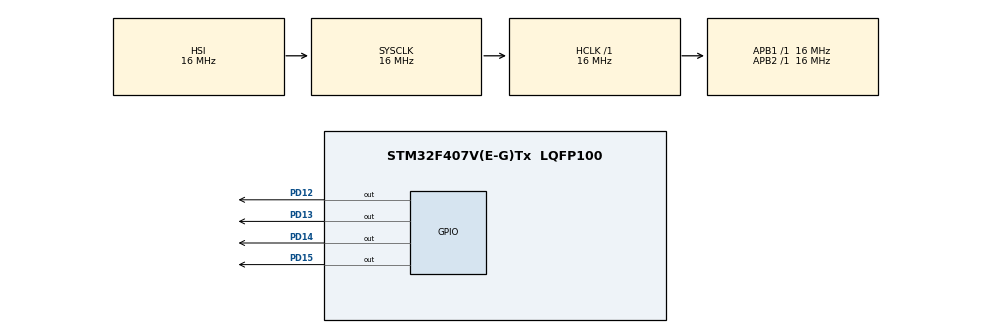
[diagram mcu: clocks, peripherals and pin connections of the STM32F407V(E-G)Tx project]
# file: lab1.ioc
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Mcu.Family=STM32F4
Mcu.Name=STM32F407V(E-G)Tx
Mcu.Package=LQFP100
NVIC.PriorityGroup=NVIC_PRIORITYGROUP_4
PD12.Signal=GPIO_Output
PD13.Signal=GPIO_Output
PD14.Signal=GPIO_Output
PD15.Signal=GPIO_Output
ProjectManager.HeapSize=0x200
ProjectManager.StackSize=0x400
ProjectManager.TargetToolchain=STM32CubeIDE
RCC.AHBFreq_Value=16000000
RCC.APB1Freq_Value=16000000
RCC.APB2Freq_Value=16000000
RCC.CortexFreq_Value=16000000
RCC.HSE_VALUE=25000000
RCC.HSI_VALUE=16000000
RCC.LSE_VALUE=32768
RCC.SYSCLKFreq_VALUE=16000000
RCC.VCOOutputFreq_Value=192000000
board=custom

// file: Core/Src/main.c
/* USER CODE BEGIN Header */
/**
  ******************************************************************************
  * @file           : main.c
  * @brief          : Main program body
  ******************************************************************************
  * @attention
  *
  * <h2><center>&copy; Copyright (c) 2021 STMicroelectronics.
  * All rights reserved.</center></h2>
  *
  * This software component is licensed by ST under BSD 3-Clause license,
  * the "License"; You may not use this file except in compliance with the
  * License. You may obtain a copy of the License at:
  *                        opensource.org/licenses/BSD-3-Clause
  *
  ******************************************************************************
  */
/* USER CODE END Header */
#include "main.h"

void SystemClock_Config(void);
static void MX_GPIO_Init(void);

int main(void)
{

  /* MCU Configuration--------------------------------------------------------*/

  /* Reset of all peripherals, Initializes the Flash interface and the Systick. */
  HAL_Init();

  /* Configure the system clock */
  SystemClock_Config();

  /* Initialize all configured peripherals */
  MX_GPIO_Init();

  /* Infinite loop */
  /* USER CODE BEGIN WHILE */
#define del1 400
#define del2 300
#define del3 500
#define del_betw_mod 1000

  void Mod_1()
  {
	  for(int i=0; i<3; i++)
	  {
	  		HAL_GPIO_WritePin(GPIOD, GPIO_PIN_12 | GPIO_PIN_13 | GPIO_PIN_14 | GPIO_PIN_15, GPIO_PIN_SET);
	  		HAL_Delay(del1);
	  		HAL_GPIO_WritePin(GPIOD, GPIO_PIN_12 | GPIO_PIN_13 | GPIO_PIN_14 | GPIO_PIN_15, GPIO_PIN_RESET);
	  		HAL_Delay(del1);
	  };
	  HAL_Delay(del_betw_mod);
  }

  void Mod_2(int dir)
  {
	  HAL_GPIO_WritePin(GPIOD, GPIO_PIN_12, GPIO_PIN_SET);
	  HAL_Delay(del2);

	  if(dir)
			HAL_GPIO_WritePin(GPIOD, GPIO_PIN_15, GPIO_PIN_SET);
	  else
			HAL_GPIO_WritePin(GPIOD, GPIO_PIN_13, GPIO_PIN_SET);
	  HAL_Delay(del2);

	  for(int i=0; i<6; i++)
	  {
			HAL_GPIO_WritePin(GPIOD, GPIO_PIN_14, GPIO_PIN_SET);
			HAL_GPIO_WritePin(GPIOD, GPIO_PIN_12, GPIO_PIN_RESET);
			HAL_Delay(del2);

			HAL_GPIO_WritePin(GPIOD, GPIO_PIN_13, dir);
			HAL_GPIO_WritePin(GPIOD, GPIO_PIN_15, !dir);
			HAL_Delay(del2);

			HAL_GPIO_WritePin(GPIOD, GPIO_PIN_12, GPIO_PIN_SET);
			HAL_GPIO_WritePin(GPIOD, GPIO_PIN_14, GPIO_PIN_RESET);
			HAL_Delay(del2);

			HAL_GPIO_WritePin(GPIOD, GPIO_PIN_15, dir);
			HAL_GPIO_WritePin(GPIOD, GPIO_PIN_13, !dir);
			HAL_Delay(del2);
	  }

		HAL_GPIO_WritePin(GPIOD, GPIO_PIN_14, GPIO_PIN_SET);
		HAL_GPIO_WritePin(GPIOD, GPIO_PIN_12, GPIO_PIN_RESET);
		HAL_Delay(del2);

		HAL_GPIO_WritePin(GPIOD, GPIO_PIN_13, dir);
		HAL_GPIO_WritePin(GPIOD, GPIO_PIN_15, !dir);
		HAL_Delay(del2);

		HAL_GPIO_WritePin(GPIOD, GPIO_PIN_12, GPIO_PIN_SET);
		HAL_GPIO_WritePin(GPIOD, GPIO_PIN_14, GPIO_PIN_RESET);
		HAL_Delay(del2);

	  if(dir)
			HAL_GPIO_WritePin(GPIOD, GPIO_PIN_13, GPIO_PIN_RESET);
	  else
			HAL_GPIO_WritePin(GPIOD, GPIO_PIN_15, GPIO_PIN_RESET);
	  HAL_Delay(del2);

	  HAL_GPIO_WritePin(GPIOD, GPIO_PIN_12, GPIO_PIN_RESET);
	  HAL_Delay(del_betw_mod);
  }

  void Mod_3()
  {
	  	HAL_GPIO_WritePin(GPIOD, GPIO_PIN_12, GPIO_PIN_SET);
	  	HAL_Delay(del3);

	  	HAL_GPIO_WritePin(GPIOD, GPIO_PIN_13, GPIO_PIN_SET);
	  	HAL_GPIO_WritePin(GPIOD, GPIO_PIN_12, GPIO_PIN_RESET);
	  	HAL_Delay(del3);

	  	HAL_GPIO_WritePin(GPIOD, GPIO_PIN_14, GPIO_PIN_SET);
	  	HAL_GPIO_WritePin(GPIOD, GPIO_PIN_13, GPIO_PIN_RESET);
	  	HAL_Delay(del3);

	  	HAL_GPIO_WritePin(GPIOD, GPIO_PIN_12, GPIO_PIN_SET);
	  	HAL_Delay(del3);

	  	HAL_GPIO_WritePin(GPIOD, GPIO_PIN_15, GPIO_PIN_SET);
	  	HAL_GPIO_WritePin(GPIOD, GPIO_PIN_12, GPIO_PIN_RESET);
	  	HAL_Delay(del3);

	  	HAL_GPIO_WritePin(GPIOD, GPIO_PIN_13, GPIO_PIN_SET);
	  	HAL_GPIO_WritePin(GPIOD, GPIO_PIN_15, GPIO_PIN_RESET);
	  	HAL_Delay(del3);

	  	HAL_GPIO_WritePin(GPIOD, GPIO_PIN_12, GPIO_PIN_SET);
	  	HAL_Delay(del3);

	  	HAL_GPIO_WritePin(GPIOD, GPIO_PIN_15, GPIO_PIN_SET);
	  	HAL_GPIO_WritePin(GPIOD, GPIO_PIN_12, GPIO_PIN_RESET);
	  	HAL_Delay(del3);

	  	HAL_GPIO_WritePin(GPIOD, GPIO_PIN_12, GPIO_PIN_SET);
	  	HAL_Delay(del3);

	  	HAL_GPIO_WritePin(GPIOD, GPIO_PIN_12 | GPIO_PIN_13 | GPIO_PIN_14 | GPIO_PIN_15, GPIO_PIN_RESET);
	  	HAL_Delay(del_betw_mod);
  }

  while (1)
  {

	Mod_1();
	Mod_2(0);
	Mod_3();
	Mod_2(1);

    /* USER CODE END WHILE */

  }
}

void SystemClock_Config(void)
{
  RCC_OscInitTypeDef RCC_OscInitStruct = {0};
  RCC_ClkInitTypeDef RCC_ClkInitStruct = {0};

  /** Configure the main internal regulator output voltage
  */
  __HAL_RCC_PWR_CLK_ENABLE();
  __HAL_PWR_VOLTAGESCALING_CONFIG(PWR_REGULATOR_VOLTAGE_SCALE1);
  /** Initializes the RCC Oscillators according to the specified parameters
  * in the RCC_OscInitTypeDef structure.
  */
  RCC_OscInitStruct.OscillatorType = RCC_OSCILLATORTYPE_HSI;
  RCC_OscInitStruct.HSIState = RCC_HSI_ON;
  RCC_OscInitStruct.HSICalibrationValue = RCC_HSICALIBRATION_DEFAULT;
  RCC_OscInitStruct.PLL.PLLState = RCC_PLL_NONE;
  if (HAL_RCC_OscConfig(&RCC_OscInitStruct) != HAL_OK)
  {
    Error_Handler();
  }
  /** Initializes the CPU, AHB and APB buses clocks
  */
  RCC_ClkInitStruct.ClockType = RCC_CLOCKTYPE_HCLK|RCC_CLOCKTYPE_SYSCLK
                              |RCC_CLOCKTYPE_PCLK1|RCC_CLOCKTYPE_PCLK2;
  RCC_ClkInitStruct.SYSCLKSource = RCC_SYSCLKSOURCE_HSI;
  RCC_ClkInitStruct.AHBCLKDivider = RCC_SYSCLK_DIV1;
  RCC_ClkInitStruct.APB1CLKDivider = RCC_HCLK_DIV1;
  RCC_ClkInitStruct.APB2CLKDivider = RCC_HCLK_DIV1;

  if (HAL_RCC_ClockConfig(&RCC_ClkInitStruct, FLASH_LATENCY_0) != HAL_OK)
  {
    Error_Handler();
  }
}

static void MX_GPIO_Init(void)
{
  GPIO_InitTypeDef GPIO_InitStruct = {0};

  /* GPIO Ports Clock Enable */
  __HAL_RCC_GPIOD_CLK_ENABLE();

  /*Configure GPIO pin Output Level */
  HAL_GPIO_WritePin(GPIOD, GPIO_PIN_12|GPIO_PIN_13|GPIO_PIN_14|GPIO_PIN_15, GPIO_PIN_RESET);

  /*Configure GPIO pins : PD12 PD13 PD14 PD15 */
  GPIO_InitStruct.Pin = GPIO_PIN_12|GPIO_PIN_13|GPIO_PIN_14|GPIO_PIN_15;
  GPIO_InitStruct.Mode = GPIO_MODE_OUTPUT_PP;
  GPIO_InitStruct.Pull = GPIO_NOPULL;
  GPIO_InitStruct.Speed = GPIO_SPEED_FREQ_LOW;
  HAL_GPIO_Init(GPIOD, &GPIO_InitStruct);

}

void Error_Handler(void)
{
  __disable_irq();
  while (1)
  {
  }
}

/************************ (C) COPYRIGHT STMicroelectronics *****END OF FILE****/
